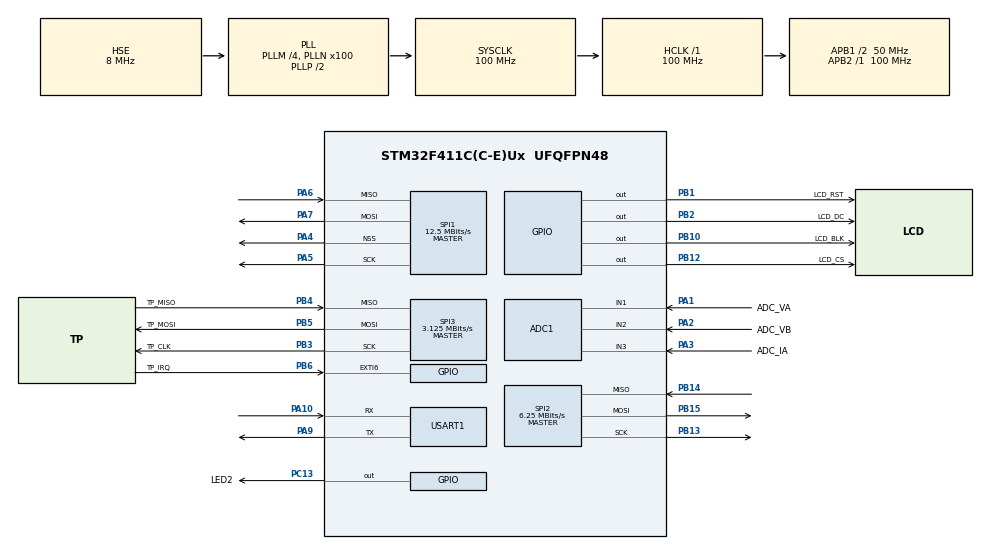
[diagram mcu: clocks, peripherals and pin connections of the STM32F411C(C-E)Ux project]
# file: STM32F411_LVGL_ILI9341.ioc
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ADC1.Channel-0\#ChannelRegularConversion=ADC_CHANNEL_1
ADC1.NbrOfConversionFlag=1
ADC1.Rank-0\#ChannelRegularConversion=1
ADC1.SamplingTime-0\#ChannelRegularConversion=ADC_SAMPLETIME_3CYCLES
ADC1.master=1
Dma.Request0=USART1_TX
Dma.Request1=SPI1_TX
Dma.SPI1_TX.1.Direction=DMA_MEMORY_TO_PERIPH
Dma.SPI1_TX.1.FIFOMode=DMA_FIFOMODE_DISABLE
Dma.SPI1_TX.1.Instance=DMA2_Stream2
Dma.SPI1_TX.1.MemDataAlignment=DMA_MDATAALIGN_BYTE
Dma.SPI1_TX.1.MemInc=DMA_MINC_ENABLE
Dma.SPI1_TX.1.Mode=DMA_NORMAL
Dma.SPI1_TX.1.PeriphDataAlignment=DMA_PDATAALIGN_BYTE
Dma.SPI1_TX.1.PeriphInc=DMA_PINC_DISABLE
Dma.SPI1_TX.1.Priority=DMA_PRIORITY_LOW
Dma.USART1_TX.0.Direction=DMA_MEMORY_TO_PERIPH
Dma.USART1_TX.0.FIFOMode=DMA_FIFOMODE_DISABLE
Dma.USART1_TX.0.Instance=DMA2_Stream7
Dma.USART1_TX.0.MemDataAlignment=DMA_MDATAALIGN_BYTE
Dma.USART1_TX.0.MemInc=DMA_MINC_ENABLE
Dma.USART1_TX.0.Mode=DMA_NORMAL
Dma.USART1_TX.0.PeriphDataAlignment=DMA_PDATAALIGN_BYTE
Dma.USART1_TX.0.PeriphInc=DMA_PINC_DISABLE
Dma.USART1_TX.0.Priority=DMA_PRIORITY_LOW
Mcu.Family=STM32F4
Mcu.Name=STM32F411C(C-E)Ux
Mcu.Package=UFQFPN48
NVIC.DMA2_Stream2_IRQn=true\:0\:0\:false\:false\:true\:false\:true\:true
NVIC.DMA2_Stream7_IRQn=true\:0\:0\:false\:false\:true\:false\:true\:true
NVIC.PriorityGroup=NVIC_PRIORITYGROUP_4
NVIC.SPI1_IRQn=true\:0\:0\:false\:false\:true\:true\:true\:true
NVIC.TIM1_UP_TIM10_IRQn=true\:0\:0\:false\:false\:true\:true\:true\:true
NVIC.USART1_IRQn=true\:0\:0\:false\:false\:true\:true\:true\:true
PA1.GPIO_Label=ADC_VA
PA1.Signal=ADCx_IN1
PA10.Mode=Asynchronous
PA10.Signal=USART1_RX
PA13.Mode=Serial_Wire
PA13.Signal=SYS_JTMS-SWDIO
PA14.Mode=Serial_Wire
PA14.Signal=SYS_JTCK-SWCLK
PA15.GPIO_Label=TP_CS
PA15.Signal=SPI3_NSS
PA2.GPIO_Label=ADC_VB
PA2.Signal=ADCx_IN2
PA3.GPIO_Label=ADC_IA
PA3.Signal=ADCx_IN3
PA4.Mode=NSS_Signal_Hard_Output
PA4.Signal=SPI1_NSS
PA5.Mode=Full_Duplex_Master
PA5.Signal=SPI1_SCK
PA6.Mode=Full_Duplex_Master
PA6.Signal=SPI1_MISO
PA7.Mode=Full_Duplex_Master
PA7.Signal=SPI1_MOSI
PA9.Mode=Asynchronous
PA9.Signal=USART1_TX
PB1.GPIO_Label=LCD_RST
PB1.Signal=GPIO_Output
PB10.GPIO_Label=LCD_BLK
PB10.Signal=GPIO_Output
PB12.GPIO_Label=LCD_CS
PB12.Signal=GPIO_Output
PB13.Mode=Full_Duplex_Master
PB13.Signal=SPI2_SCK
PB14.Mode=Full_Duplex_Master
PB14.Signal=SPI2_MISO
PB15.Mode=Full_Duplex_Master
PB15.Signal=SPI2_MOSI
PB2.GPIO_Label=LCD_DC
PB2.Signal=GPIO_Output
PB3.GPIO_Label=TP_CLK
PB3.Mode=Full_Duplex_Master
PB3.Signal=SPI3_SCK
PB4.GPIO_Label=TP_MISO
PB4.Mode=Full_Duplex_Master
PB4.Signal=SPI3_MISO
PB5.GPIO_Label=TP_MOSI
PB5.Mode=Full_Duplex_Master
PB5.Signal=SPI3_MOSI
PB6.GPIO_Label=TP_IRQ
PB6.Signal=GPXTI6
PC13-ANTI_TAMP.GPIO_Label=LED2
PC13-ANTI_TAMP.Signal=GPIO_Output
PH0\ -\ OSC_IN.Mode=HSE-External-Oscillator
PH0\ -\ OSC_IN.Signal=RCC_OSC_IN
PH1\ -\ OSC_OUT.Mode=HSE-External-Oscillator
PH1\ -\ OSC_OUT.Signal=RCC_OSC_OUT
ProjectManager.HeapSize=0x200
ProjectManager.StackSize=0x400
ProjectManager.TargetToolchain=STM32CubeIDE
RCC.48MHZClocksFreq_Value=50000000
RCC.AHBFreq_Value=100000000
RCC.APB1CLKDivider=RCC_HCLK_DIV2
RCC.APB1Freq_Value=50000000
RCC.APB1TimFreq_Value=100000000
RCC.APB2Freq_Value=100000000
RCC.APB2TimFreq_Value=100000000
RCC.CortexFreq_Value=100000000
RCC.HCLKFreq_Value=100000000
RCC.HSE_VALUE=8000000
RCC.HSI_VALUE=16000000
RCC.LSE_VALUE=32768
RCC.PLLM=4
RCC.PLLN=100
RCC.PLLSourceVirtual=RCC_PLLSOURCE_HSE
RCC.SYSCLKFreq_VALUE=100000000
RCC.SYSCLKSource=RCC_SYSCLKSOURCE_PLLCLK
RCC.VCOOutputFreq_Value=200000000
SH.ADCx_IN1.0=ADC1_IN1,IN1
SH.ADCx_IN2.0=ADC1_IN2,IN2
SH.ADCx_IN3.0=ADC1_IN3,IN3
SPI1.BaudRatePrescaler=SPI_BAUDRATEPRESCALER_8
SPI1.CalculateBaudRate=12.5 MBits/s
SPI1.Direction=SPI_DIRECTION_2LINES
SPI1.Mode=SPI_MODE_MASTER
SPI1.VirtualNSS=VM_NSSHARD
SPI1.VirtualType=VM_MASTER
SPI2.BaudRatePrescaler=SPI_BAUDRATEPRESCALER_8
SPI2.CalculateBaudRate=6.25 MBits/s
SPI2.Direction=SPI_DIRECTION_2LINES
SPI2.Mode=SPI_MODE_MASTER
SPI2.VirtualType=VM_MASTER
SPI3.BaudRatePrescaler=SPI_BAUDRATEPRESCALER_16
SPI3.CalculateBaudRate=3.125 MBits/s
SPI3.Direction=SPI_DIRECTION_2LINES
SPI3.Mode=SPI_MODE_MASTER
SPI3.VirtualType=VM_MASTER
TIM1.AutoReloadPreload=TIM_AUTORELOAD_PRELOAD_ENABLE
TIM1.ClockDivision=TIM_CLOCKDIVISION_DIV2
TIM1.Period=65535
TIM1.Prescaler=10000-1
TIM10.AutoReloadPreload=TIM_AUTORELOAD_PRELOAD_ENABLE
TIM10.ClockDivision=TIM_CLOCKDIVISION_DIV1
TIM10.Period=1000-1
TIM10.Prescaler=100-1
USART1.VirtualMode=VM_ASYNC
VP_TIM10_VS_ClockSourceINT.Mode=Enable_Timer
VP_TIM1_VS_ClockSourceINT.Mode=Internal
board=custom

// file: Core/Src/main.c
/* USER CODE BEGIN Header */
/**
 ******************************************************************************
 * @file           : main.c
 * @brief          : Main program body
 ******************************************************************************
 * @attention
 *
 * Copyright (c) 2025 STMicroelectronics.
 * All rights reserved.
 *
 * This software is licensed under terms that can be found in the LICENSE file
 * in the root directory of this software component.
 * If no LICENSE file comes with this software, it is provided AS-IS.
 *
 ******************************************************************************
 */
/* USER CODE END Header */
#include "main.h"
#include "adc.h"
#include "dma.h"
#include "spi.h"
#include "tim.h"
#include "usart.h"
#include "gpio.h"

/* USER CODE BEGIN Includes */
#include "ILI9341_STM32_Driver.h"
#include "ILI9341_demo.h"
#include "usart.h"
#include "lvgl.h"
#include "button.h"
#include "lv_port_disp.h"
#include "lv_port_indev.h"
#include "gui_guider.h"           // Gui Guider 生成的界面和控件的声�????????
#include "events_init.h"          // Gui Guider 生成的初始化事件、回调函�????????
#include "custom.h"
/* USER CODE END Includes */

/* USER CODE BEGIN PV */
lv_ui guider_ui; // 声明 界面对象
/* USER CODE END PV */

void SystemClock_Config(void);

int main(void)
{

  /* MCU Configuration--------------------------------------------------------*/

  /* Reset of all peripherals, Initializes the Flash interface and the Systick. */
  HAL_Init();

  /* Configure the system clock */
  SystemClock_Config();

  /* Initialize all configured peripherals */
  MX_GPIO_Init();
  MX_DMA_Init();
  MX_SPI1_Init();
  MX_SPI2_Init();
  MX_SPI3_Init();
  MX_USART1_UART_Init();
  MX_ADC1_Init();
  MX_TIM10_Init();
  MX_TIM1_Init();
  /* USER CODE BEGIN 2 */
	ILI9341_Init(); //initial driver setup to drive ili9341
	ILI9341_Set_Rotation(SCREEN_HORIZONTAL_1);
	HAL_Delay(1000);
	HAL_GPIO_WritePin(LCD_BLK_GPIO_Port, LCD_BLK_Pin, GPIO_PIN_SET);

	lv_init();
	lv_port_disp_init();
	lv_port_indev_init();

	__HAL_TIM_CLEAR_IT(&htim10, TIM_IT_UPDATE);
	HAL_TIM_Base_Start_IT(&htim10); //使能LVGL心跳时钟

	setup_ui(&guider_ui);           // 初始�???????? UI
	events_init(&guider_ui);       // 初始�???????? 事件

  /* USER CODE END 2 */

  /* Infinite loop */
	while (1) {

    /* USER CODE BEGIN 3 */
		HAL_Delay(1 - 1);
		static uint16_t led_time = 0;
		if (led_time++ >= 1000) {
			HAL_GPIO_TogglePin(LED2_GPIO_Port, LED2_Pin);
			led_time = 0;
		}
//		static uint16_t lcd_time = 0;
//		if (lcd_time++ > 1000) {
//			PERFORMANCE_TEST();
//			lcd_time = 0;
//		}
//		HAL_GPIO_TogglePin(LED2_GPIO_Port, LED2_Pin);
//		HAL_Delay(1000);
//		PERFORMANCE_TEST();
//		COUNTING_MULTIPLE_SEGMENTS();
//		COLOUR_EXAMPLE();
//		ILI9341_Fill_Screen(RED);
//		HAL_GPIO_TogglePin(LCD_CS_GPIO_Port, LCD_CS_PIN);
//		HAL_GPIO_WritePin(LCD_CS_GPIO_Port, LCD_CS_PIN, GPIO_PIN_SET);
//		HAL_Delay(1000);
//		USART1_Printf("%d : LCD ID:%d\r\n", ILI9341_RedeID());
//		HAL_Delay(1000);
//		static uint16_t gui_time = 0;
//		if (gui_time++ > 10) {
//			lv_timer_handler(); /* LVGL计时�???????? */
//			gui_time = 0;
//		}
//		lv_timer_handler();
	}
  /* USER CODE END 3 */
}

void SystemClock_Config(void)
{
  RCC_OscInitTypeDef RCC_OscInitStruct = {0};
  RCC_ClkInitTypeDef RCC_ClkInitStruct = {0};

  /** Configure the main internal regulator output voltage
  */
  __HAL_RCC_PWR_CLK_ENABLE();
  __HAL_PWR_VOLTAGESCALING_CONFIG(PWR_REGULATOR_VOLTAGE_SCALE1);

  /** Initializes the RCC Oscillators according to the specified parameters
  * in the RCC_OscInitTypeDef structure.
  */
  RCC_OscInitStruct.OscillatorType = RCC_OSCILLATORTYPE_HSE;
  RCC_OscInitStruct.HSEState = RCC_HSE_ON;
  RCC_OscInitStruct.PLL.PLLState = RCC_PLL_ON;
  RCC_OscInitStruct.PLL.PLLSource = RCC_PLLSOURCE_HSE;
  RCC_OscInitStruct.PLL.PLLM = 4;
  RCC_OscInitStruct.PLL.PLLN = 100;
  RCC_OscInitStruct.PLL.PLLP = RCC_PLLP_DIV2;
  RCC_OscInitStruct.PLL.PLLQ = 4;
  if (HAL_RCC_OscConfig(&RCC_OscInitStruct) != HAL_OK)
  {
    Error_Handler();
  }

  /** Initializes the CPU, AHB and APB buses clocks
  */
  RCC_ClkInitStruct.ClockType = RCC_CLOCKTYPE_HCLK|RCC_CLOCKTYPE_SYSCLK
                              |RCC_CLOCKTYPE_PCLK1|RCC_CLOCKTYPE_PCLK2;
  RCC_ClkInitStruct.SYSCLKSource = RCC_SYSCLKSOURCE_PLLCLK;
  RCC_ClkInitStruct.AHBCLKDivider = RCC_SYSCLK_DIV1;
  RCC_ClkInitStruct.APB1CLKDivider = RCC_HCLK_DIV2;
  RCC_ClkInitStruct.APB2CLKDivider = RCC_HCLK_DIV1;

  if (HAL_RCC_ClockConfig(&RCC_ClkInitStruct, FLASH_LATENCY_3) != HAL_OK)
  {
    Error_Handler();
  }
}

/* USER CODE BEGIN 4 */
void HAL_TIM_PeriodElapsedCallback(TIM_HandleTypeDef *htim) {
//	static uint16_t led_time = 0; //心跳�????????
	if (htim->Instance == TIM10) {
		lv_tick_inc(1);
//		if (led_time++ >= 1000) {
//			HAL_GPIO_TogglePin(LED2_GPIO_Port, LED2_Pin);
//			led_time = 0;
//		}
	}
}

void Button_Event_Callback(lv_event_t *event) {
	lv_obj_t *btn = lv_event_get_target(event);          // 获得调用这个回调函数的对�????????
//	if (event->code == LV_EVENT_CLICKED) {
//		static uint8_t cnt = 0;
//		cnt++;
//		lv_obj_t *label = lv_obj_get_child(btn, NULL); // 获取�????????1个子对象(我们在设计时，已安排了它的第1个子对象是一个label对象)
//		lv_label_set_text_fmt(label, "Button: %d", cnt);   // 设置标签的文本，写法类似printf
//	}
}
/* USER CODE END 4 */

void Error_Handler(void)
{
	__disable_irq();
	while (1) {
	}
}
